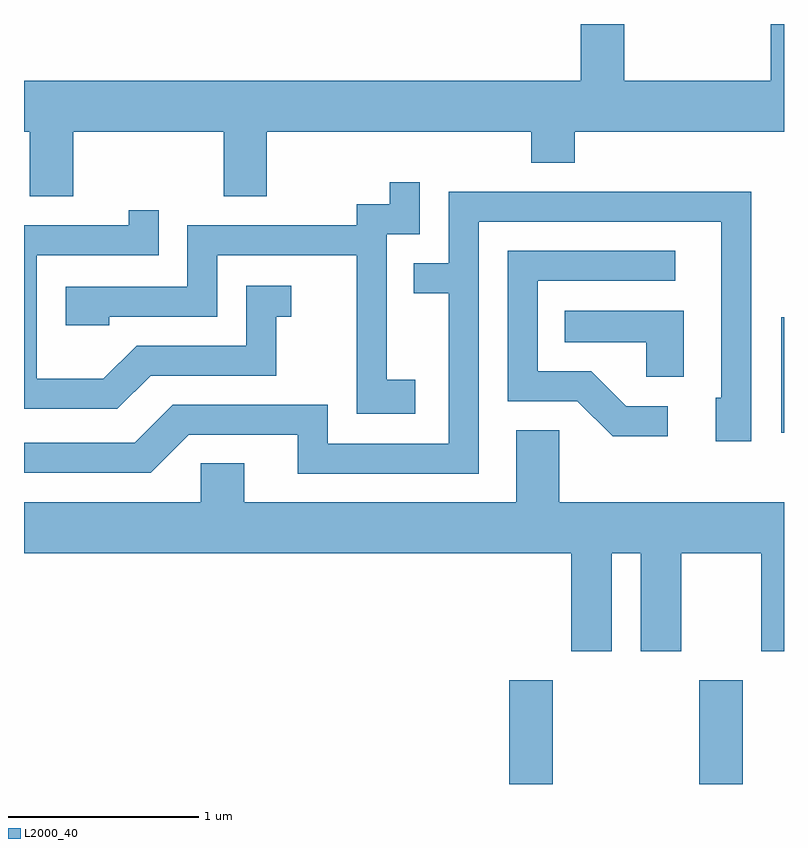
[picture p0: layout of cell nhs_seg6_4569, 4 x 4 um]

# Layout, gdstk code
import gdstk
lib = gdstk.Library(unit=1e-6, precision=1e-09)
def R(c, l, rs):  # rectangles x0, y0, x1, y1
    for r in rs: c.add(gdstk.rectangle(r[:2], r[2:], *l))
def P(c, l, *ps):  # polygons
    for p in ps: c.add(gdstk.Polygon(p, *l))
L2000_40 = (2000, 40)

nhs_seg6_4569 = lib.new_cell('nhs_seg6_4569')
R(nhs_seg6_4569, L2000_40, [(328.166,1542.162,328.394,1542.709), (329.166,1542.162,329.394,1542.709), (329.596,1544.011,329.611,1544.618)])
P(nhs_seg6_4569, L2000_40, [(325.869,1545.596),(326.661,1545.596),(326.661,1545.256),(326.889,1545.256),(326.889,1545.596),(328.281,1545.596),(328.281,1545.431),(328.509,1545.431),(328.509,1545.596),(329.611,1545.596),(329.611,1546.162),(329.541,1546.162),(329.541,1545.864),(328.769,1545.864),(328.769,1546.162),(328.541,1546.162),(328.541,1545.864),(325.611,1545.864),(325.611,1545.596),(325.641,1545.596),(325.641,1545.256),(325.869,1545.256)],
  [(327.669,1544.289),(327.519,1544.289),(327.519,1545.056),(327.694,1545.056),(327.694,1545.328),(327.536,1545.328),(327.536,1545.214),(327.361,1545.214),(327.361,1545.104),(326.471,1545.104),(326.471,1544.779),(325.831,1544.779),(325.831,1544.576),(326.059,1544.576),(326.059,1544.621),(326.629,1544.621),(326.629,1544.946),(327.361,1544.946),(327.361,1544.111),(327.669,1544.111)],
  [(328.004,1545.121),(329.281,1545.121),(329.281,1544.194),(329.251,1544.194),(329.251,1543.966),(329.439,1543.966),(329.439,1545.279),(327.846,1545.279),(327.846,1544.904),(327.663,1544.904),(327.663,1544.746),(327.846,1544.746),(327.846,1543.954),(327.209,1543.954),(327.209,1544.159),(326.394,1544.159),(326.194,1543.959),(325.611,1543.959),(325.611,1543.801),(326.277,1543.801),(326.477,1544.001),(327.051,1544.001),(327.051,1543.796),(328.004,1543.796)],
  [(326.277,1544.311),(326.939,1544.311),(326.939,1544.621),(327.018,1544.621),(327.018,1544.784),(326.781,1544.784),(326.781,1544.469),(326.204,1544.469),(326.029,1544.294),(325.679,1544.294),(325.679,1544.946),(326.319,1544.946),(326.319,1545.183),(326.161,1545.183),(326.161,1545.104),(325.611,1545.104),(325.611,1544.136),(326.102,1544.136)],
  [(328.998,1544.149),(328.782,1544.149),(328.597,1544.334),(328.314,1544.334),(328.314,1544.811),(329.038,1544.811),(329.038,1544.969),(328.156,1544.969),(328.156,1544.176),(328.524,1544.176),(328.709,1543.991),(328.998,1543.991)],
  [(329.084,1544.654),(328.458,1544.654),(328.458,1544.486),(328.886,1544.486),(328.886,1544.306),(329.084,1544.306)],
  [(328.704,1543.376),(328.856,1543.376),(328.856,1542.861),(329.069,1542.861),(329.069,1543.376),(329.491,1543.376),(329.491,1542.861),(329.611,1542.861),(329.611,1543.644),(328.429,1543.644),(328.429,1544.024),(328.201,1544.024),(328.201,1543.644),(326.769,1543.644),(326.769,1543.849),(326.541,1543.849),(326.541,1543.644),(325.611,1543.644),(325.611,1543.376),(328.491,1543.376),(328.491,1542.861),(328.704,1542.861)])

lib.write_gds('nhs_seg6_4569.gds')
